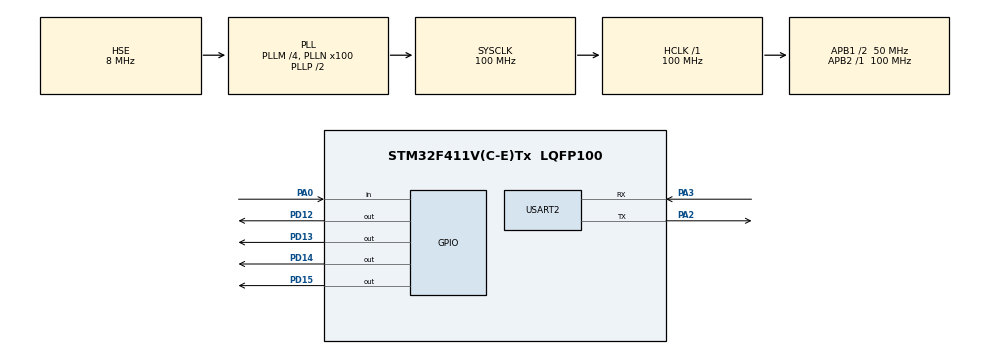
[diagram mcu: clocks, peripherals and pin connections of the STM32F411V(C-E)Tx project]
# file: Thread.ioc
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FREERTOS.Tasks01=defaultTask,24,128,StartDefaultTask,Default,NULL
Mcu.Family=STM32F4
Mcu.Name=STM32F411V(C-E)Tx
Mcu.Package=LQFP100
NVIC.PriorityGroup=NVIC_PRIORITYGROUP_4
NVIC.TIM1_UP_TIM10_IRQn=true\:0\:0\:false\:false\:true\:false\:false\:true
NVIC.TimeBase=TIM1_UP_TIM10_IRQn
NVIC.TimeBaseIP=TIM1
PA0-WKUP.Signal=GPIO_Input
PA13.Mode=Serial_Wire
PA13.Signal=SYS_JTMS-SWDIO
PA14.Mode=Serial_Wire
PA14.Signal=SYS_JTCK-SWCLK
PA2.Mode=Asynchronous
PA2.Signal=USART2_TX
PA3.Mode=Asynchronous
PA3.Signal=USART2_RX
PD12.Signal=GPIO_Output
PD13.Signal=GPIO_Output
PD14.Signal=GPIO_Output
PD15.Signal=GPIO_Output
PH0\ -\ OSC_IN.Mode=HSE-External-Oscillator
PH0\ -\ OSC_IN.Signal=RCC_OSC_IN
PH1\ -\ OSC_OUT.Mode=HSE-External-Oscillator
PH1\ -\ OSC_OUT.Signal=RCC_OSC_OUT
ProjectManager.HeapSize=0x200
ProjectManager.StackSize=0x400
ProjectManager.TargetToolchain=STM32CubeIDE
RCC.48MHZClocksFreq_Value=50000000
RCC.AHBFreq_Value=100000000
RCC.APB1CLKDivider=RCC_HCLK_DIV2
RCC.APB1Freq_Value=50000000
RCC.APB1TimFreq_Value=100000000
RCC.APB2Freq_Value=100000000
RCC.APB2TimFreq_Value=100000000
RCC.CortexFreq_Value=100000000
RCC.HCLKFreq_Value=100000000
RCC.HSE_VALUE=8000000
RCC.HSI_VALUE=16000000
RCC.PLLM=4
RCC.PLLN=100
RCC.PLLSourceVirtual=RCC_PLLSOURCE_HSE
RCC.SYSCLKFreq_VALUE=100000000
RCC.SYSCLKSource=RCC_SYSCLKSOURCE_PLLCLK
RCC.VCOOutputFreq_Value=200000000
USART2.VirtualMode=VM_ASYNC
VP_FREERTOS_VS_CMSIS_V2.Mode=CMSIS_V2
VP_SYS_VS_tim1.Mode=TIM1
board=custom

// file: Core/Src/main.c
/* USER CODE BEGIN Header */
/**
  ******************************************************************************
  * @file           : main.c
  * @brief          : Main program body
  ******************************************************************************
  * @attention
  *
  * <h2><center>&copy; Copyright (c) 2019 STMicroelectronics.
  * All rights reserved.</center></h2>
  *
  * This software component is licensed by ST under BSD 3-Clause license,
  * the "License"; You may not use this file except in compliance with the
  * License. You may obtain a copy of the License at:
  *                        opensource.org/licenses/BSD-3-Clause
  *
  *

  https://www.keil.com/pack/doc/cmsis/RTOS2/html/group__CMSIS__RTOS__TimerMgmt.html#details

  Además de las funciones de espera genéricas, CMSIS-RTOS también admite objetos
  de temporizador virtual. Estos objetos de temporizador pueden desencadenar la
  ejecución de una función (no hilos). Cuando caduca un temporizador, se ejecuta
  una función de devolución de llamada para ejecutar el código asociado con el
  temporizador. Cada temporizador se puede configurar como un temporizador de
  una sola vez o periódico. Un temporizador periódico repite su operación hasta
  que se elimina o se detiene. Todos los temporizadores pueden iniciarse,
  reiniciarse o detenerse.

  ******************************************************************************
  */
/* USER CODE END Header */

#include "main.h"
#include "cmsis_os.h"

/* USER CODE BEGIN Includes */
#include "stdio.h"
/* USER CODE END Includes */

UART_HandleTypeDef huart2;
uint32_t exec1;                                 // argument for the timer call back function
uint32_t exec2;                                 // argument for the timer call back function
uint32_t timerDelay;							//delay time
osStatus_t status;
osTimerId_t id;

void SystemClock_Config(void);
static void MX_GPIO_Init(void);
static void MX_USART2_UART_Init(void);
void Timer_Callback (void *arg);               // prototypes for timer callback function
void Timer1_Callback (void *arg);               // prototypes for timer callback function
void Timer2_Callback (void *arg);               // prototypes for timer callback function

/* USER CODE BEGIN 0 */
void TimerCreate_example (void)  {
  osTimerId_t id1;                              // timer id
  osTimerId_t id2;                              // timer id

  // Create one-shoot timer
  exec1 = 1U;
  id1 = osTimerNew(Timer1_Callback, osTimerOnce, &exec1, NULL);
  if (id1 != NULL) {
    // One-shoot timer created
  }

  // Create periodic timer
  exec2 = 2U;
  id2 = osTimerNew(Timer2_Callback, osTimerPeriodic, &exec2, NULL);
  if (id2 != NULL) {
    // Periodic timer created
	  timerDelay = 1000U;
	  status = osTimerStart(id, timerDelay);       // start timer
	  if (status != osOK) {
	        // Timer could not be started
	  }
  }

}

void TimerStop_example (void) {
  osTimerId_t id;                               // timer id
  osStatus_t  status;                           // function return status

  // Create periodic timer
  exec1 = 1U;
  id = osTimerNew(Timer_Callback, osTimerPeriodic, &exec1, NULL);
  osTimerStart(id, 1000U);                      // start timer

  status = osTimerStop(id);                     // stop timer
  if (status != osOK) {
    // Timer could not be stopped
  }

  osTimerStart(id, 1000U);                      // start timer again

}

void TimerDelete_example (void) {
  osTimerId_t id;                               // timer id
  osStatus_t  status;                           // function return status

  // Create periodic timer
  exec1 = 1U;
  id = osTimerNew(Timer_Callback, osTimerPeriodic, &exec1, NULL);
  osTimerStart(id, 1000U);                      // start timer

  status = osTimerDelete(id);                   // stop and delete timer
  if (status != osOK) {
    // Timer could not be deleted
  }

}

void Timer_Callback (void *arg) {               // timer callback function
                                                // arg contains &exec
                                                // called every second after osTimerStart
}

void Timer1_Callback (void *arg) {               // timer callback function
                                                // arg contains &exec
                                                // called every second after osTimerStart
}

void Timer2_Callback (void *arg) {               // timer callback function
                                                // arg contains &exec
                                                // called every second after osTimerStart
}

/* USER CODE END 0 */

int main(void)
{

  /* MCU Configuration--------------------------------------------------------*/

  /* Reset of all peripherals, Initializes the Flash interface and the Systick. */
  HAL_Init();

  /* Configure the system clock */
  SystemClock_Config();

  /* Initialize all configured peripherals */
  MX_GPIO_Init();
  MX_USART2_UART_Init();

  osKernelInitialize();

  /* Create the thread(s) */
  /* definition and creation of defaultTask */

    /* USER CODE BEGIN RTOS_THREADS */
    char txData[50]= "";;
    sprintf(txData, "%s", "inicio\r\n");
    HAL_UART_Transmit(&huart2, (uint8_t *) txData, sizeof(txData),1000);
  /* add threads, ... */
  /* USER CODE END RTOS_THREADS */

  /* Start scheduler */
  osKernelStart();

  /* We should never get here as control is now taken by the scheduler */

  /* Infinite loop */
  while (1)
  {

  }
}

void SystemClock_Config(void)
{
  RCC_OscInitTypeDef RCC_OscInitStruct = {0};
  RCC_ClkInitTypeDef RCC_ClkInitStruct = {0};

  /** Configure the main internal regulator output voltage
  */
  __HAL_RCC_PWR_CLK_ENABLE();
  __HAL_PWR_VOLTAGESCALING_CONFIG(PWR_REGULATOR_VOLTAGE_SCALE1);
  /** Initializes the CPU, AHB and APB busses clocks
  */
  RCC_OscInitStruct.OscillatorType = RCC_OSCILLATORTYPE_HSE;
  RCC_OscInitStruct.HSEState = RCC_HSE_ON;
  RCC_OscInitStruct.PLL.PLLState = RCC_PLL_ON;
  RCC_OscInitStruct.PLL.PLLSource = RCC_PLLSOURCE_HSE;
  RCC_OscInitStruct.PLL.PLLM = 4;
  RCC_OscInitStruct.PLL.PLLN = 100;
  RCC_OscInitStruct.PLL.PLLP = RCC_PLLP_DIV2;
  RCC_OscInitStruct.PLL.PLLQ = 4;
  if (HAL_RCC_OscConfig(&RCC_OscInitStruct) != HAL_OK)
  {
    Error_Handler();
  }
  /** Initializes the CPU, AHB and APB busses clocks
  */
  RCC_ClkInitStruct.ClockType = RCC_CLOCKTYPE_HCLK|RCC_CLOCKTYPE_SYSCLK
                              |RCC_CLOCKTYPE_PCLK1|RCC_CLOCKTYPE_PCLK2;
  RCC_ClkInitStruct.SYSCLKSource = RCC_SYSCLKSOURCE_PLLCLK;
  RCC_ClkInitStruct.AHBCLKDivider = RCC_SYSCLK_DIV1;
  RCC_ClkInitStruct.APB1CLKDivider = RCC_HCLK_DIV2;
  RCC_ClkInitStruct.APB2CLKDivider = RCC_HCLK_DIV1;

  if (HAL_RCC_ClockConfig(&RCC_ClkInitStruct, FLASH_LATENCY_3) != HAL_OK)
  {
    Error_Handler();
  }
}

static void MX_USART2_UART_Init(void)
{

  huart2.Instance = USART2;
  huart2.Init.BaudRate = 115200;
  huart2.Init.WordLength = UART_WORDLENGTH_8B;
  huart2.Init.StopBits = UART_STOPBITS_1;
  huart2.Init.Parity = UART_PARITY_NONE;
  huart2.Init.Mode = UART_MODE_TX_RX;
  huart2.Init.HwFlowCtl = UART_HWCONTROL_NONE;
  huart2.Init.OverSampling = UART_OVERSAMPLING_16;
  if (HAL_UART_Init(&huart2) != HAL_OK)
  {
    Error_Handler();
  }

}

static void MX_GPIO_Init(void)
{
  GPIO_InitTypeDef GPIO_InitStruct = {0};

  /* GPIO Ports Clock Enable */
  __HAL_RCC_GPIOH_CLK_ENABLE();
  __HAL_RCC_GPIOA_CLK_ENABLE();
  __HAL_RCC_GPIOD_CLK_ENABLE();

  /*Configure GPIO pin Output Level */
  HAL_GPIO_WritePin(GPIOD, GPIO_PIN_12|GPIO_PIN_13|GPIO_PIN_14|GPIO_PIN_15, GPIO_PIN_RESET);

  /*Configure GPIO pin : PA0 */
  GPIO_InitStruct.Pin = GPIO_PIN_0;
  GPIO_InitStruct.Mode = GPIO_MODE_INPUT;
  GPIO_InitStruct.Pull = GPIO_NOPULL;
  HAL_GPIO_Init(GPIOA, &GPIO_InitStruct);

  /*Configure GPIO pins : PD12 PD13 PD14 PD15 */
  GPIO_InitStruct.Pin = GPIO_PIN_12|GPIO_PIN_13|GPIO_PIN_14|GPIO_PIN_15;
  GPIO_InitStruct.Mode = GPIO_MODE_OUTPUT_PP;
  GPIO_InitStruct.Pull = GPIO_NOPULL;
  GPIO_InitStruct.Speed = GPIO_SPEED_FREQ_LOW;
  HAL_GPIO_Init(GPIOD, &GPIO_InitStruct);

}

void HAL_TIM_PeriodElapsedCallback(TIM_HandleTypeDef *htim)
{
  if (htim->Instance == TIM1) {
    HAL_IncTick();
  }
}

void Error_Handler(void)
{
}

/************************ (C) COPYRIGHT STMicroelectronics *****END OF FILE****/
